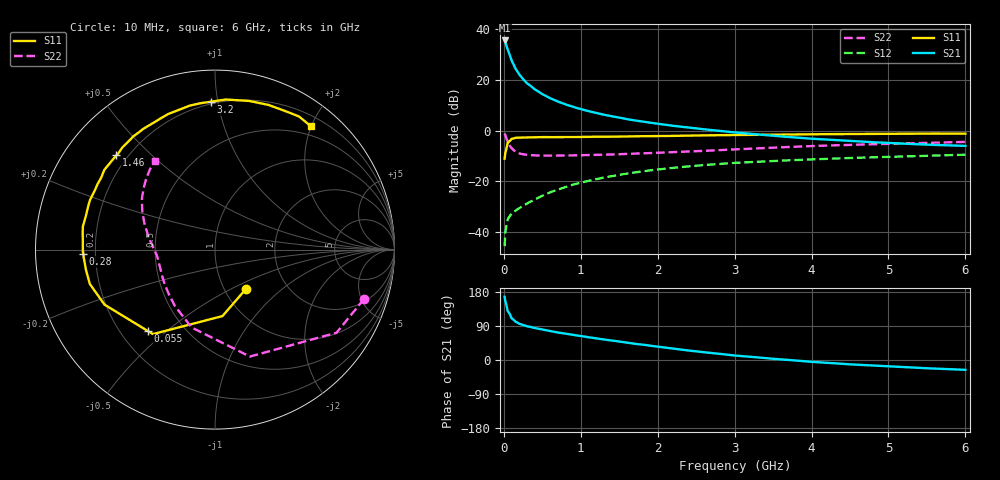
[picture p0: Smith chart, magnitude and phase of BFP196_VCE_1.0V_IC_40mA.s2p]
! Infineon Technologies  Discrete & RF Semiconductors
! BFP196
! VCE = 1.0 V,  IC =  40mA
! Common Emitter S-Parameters:  Jan 2016
# GHz  S  MA  R  50
!  f  S11  S21  S12  S22
! GHz  MAG  ANG  MAG  ANG  MAG  ANG  MAG  ANG
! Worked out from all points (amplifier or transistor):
!   210 points, 10 MHz to 6 GHz, reference 50 ohm
!   highest |S21| = 35.7 dB at 10 MHz (marker M1)
!   |S21| within 3 dB of that: start of sweep to 43.32 MHz
!   unconditionally stable (mu >= 1): 445.8 MHz to 5.359 GHz; 5.645 GHz to end of sweep
!   at 185 MHz: K = 0.70, MSG = 27.0 dB, |S12| = -31.0 dB
!   at 1.52 GHz: K = 1.11, MAG = 9.2 dB, |S12| = -17.4 dB
!   at 6 GHz: K = 1.01, MAG = 1.0 dB, |S12| = -9.5 dB
!   S11 on the Smith chart (normalised r, x): 10 MHz: 1.26, -0.60; 55 MHz: 0.31, -0.43; 280 MHz: 0.15, -0.02; 1.46 GHz: 0.16, +0.39; 3.2 GHz: 0.19, +0.95; 6 GHz: 0.35, +1.99
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0.01  0.2787 -51.6  60.66 166.9  0.0052 75.5  0.8751 -18.3
0.02  0.3728 -83.6  55.73 154.0  0.0099 66.1  0.8202 -34.4
0.05  0.5841 -126.3  40.33 129.1  0.0177 50.4  0.6269 -71.9
0.055  0.5877 -129.4  38.61 127.9  0.0182 49.6  0.602 -74.4
0.1  0.6876 -153.5  24.38 110.1  0.0229 43.8  0.453 -106.7
0.15  0.7234 -164.7  16.93 101.2  0.0262 44.7  0.3859 -125.3
0.2  0.7275 -171.0  12.94 95.7  0.0291 48.1  0.3556 -136.8
0.24  0.7311 -175.2  10.88 92.7  0.0321 49.7  0.3429 -143.5
0.28  0.7345 -178.1  9.357 90.2  0.0348 51.5  0.3357 -148.3
0.3  0.7362 -179.3  8.685 89.0  0.0361 52.4  0.333 -150.4
0.4  0.7409 174.2  6.579 84.4  0.0435 55.9  0.3245 -158.1
0.5  0.7474 170.2  5.265 80.4  0.0513 58.2  0.3213 -163.0
0.6  0.7431 165.8  4.394 76.4  0.0602 59.4  0.3204 -166.4
0.7  0.7463 161.8  3.777 72.6  0.0681 59.8  0.3215 -169.1
1.02  0.7491 150.2  2.614 62.6  0.0951 58.5  0.3271 -175.1
1.46  0.76 136.3  1.857 49.9  0.1305 53.5  0.3404 179.1
2.02  0.7825 120.1  1.355 34.8  0.1718 45.6  0.3656 171.9
3.1  0.8214 93.6  0.894 10.3  0.2345 29.4  0.4323 156.9
3.2  0.8242 91.7  0.867 8.6  0.2387 28.0  0.4392 155.4
4.1  0.8506 75.6  0.679 -6.1  0.2737 16.8  0.5018 143.9
5.1  0.8669 62.3  0.561 -17.7  0.3066 5.5  0.5537 133.3
6  0.8707 52.3  0.5 -25.9  0.3342 -4.4  0.5986 124.1
